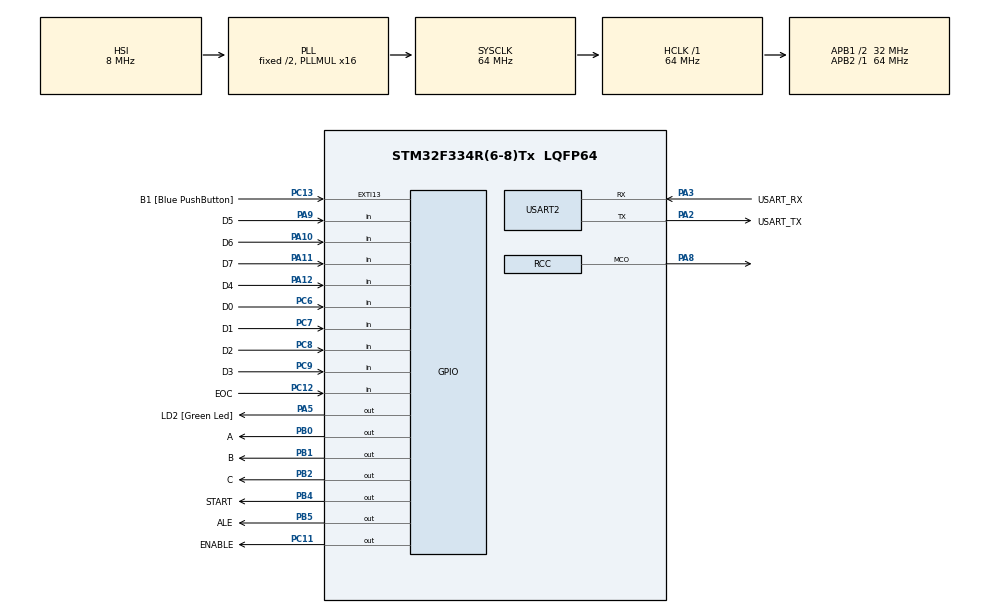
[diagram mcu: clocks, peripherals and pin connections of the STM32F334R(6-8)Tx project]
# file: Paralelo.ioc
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Mcu.Family=STM32F3
Mcu.Name=STM32F334R(6-8)Tx
Mcu.Package=LQFP64
NVIC.EXTI15_10_IRQn=true\:0\:0\:false\:false\:true\:true\:true
NVIC.PriorityGroup=NVIC_PRIORITYGROUP_0
PA10.GPIO_Label=D6
PA10.Signal=GPIO_Input
PA11.GPIO_Label=D7
PA11.Signal=GPIO_Input
PA12.GPIO_Label=D4
PA12.Signal=GPIO_Input
PA13.GPIO_Label=TMS
PA13.Mode=Serial_Wire
PA13.Signal=SYS_JTMS-SWDIO
PA14.GPIO_Label=TCK
PA14.Mode=Serial_Wire
PA14.Signal=SYS_JTCK-SWCLK
PA2.GPIO_Label=USART_TX
PA2.Mode=Asynchronous
PA2.Signal=USART2_TX
PA3.GPIO_Label=USART_RX
PA3.Mode=Asynchronous
PA3.Signal=USART2_RX
PA5.GPIO_Label=LD2 [Green Led]
PA5.Signal=GPIO_Output
PA8.Mode=Clock-out
PA8.Signal=RCC_MCO
PA9.GPIO_Label=D5
PA9.Signal=GPIO_Input
PB0.GPIO_Label=A
PB0.Signal=GPIO_Output
PB1.GPIO_Label=B
PB1.Signal=GPIO_Output
PB2.GPIO_Label=C
PB2.Signal=GPIO_Output
PB3.GPIO_Label=SWO
PB3.Signal=SYS_JTDO-TRACESWO
PB4.GPIO_Label=START
PB4.Signal=GPIO_Output
PB5.GPIO_Label=ALE
PB5.Signal=GPIO_Output
PC11.GPIO_Label=ENABLE
PC11.Signal=GPIO_Output
PC12.GPIO_Label=EOC
PC12.Signal=GPIO_Input
PC13.GPIO_Label=B1 [Blue PushButton]
PC13.GPIO_ModeDefaultEXTI=GPIO_MODE_IT_FALLING
PC13.Signal=GPXTI13
PC14\ /\ OSC32_IN.Signal=RCC_OSC32_IN
PC15\ /\ OSC32_OUT.GPIO_Label=RCC_OSC32_OUT
PC15\ /\ OSC32_OUT.Signal=RCC_OSC32_OUT
PC6.GPIO_Label=D0
PC6.Signal=GPIO_Input
PC7.GPIO_Label=D1
PC7.Signal=GPIO_Input
PC8.GPIO_Label=D2
PC8.Signal=GPIO_Input
PC9.GPIO_Label=D3
PC9.Signal=GPIO_Input
PF0\ /\ OSC_IN.Mode=HSE-External-Clock-Source
PF0\ /\ OSC_IN.Signal=RCC_OSC_IN
PF1\ /\ OSC_OUT.Signal=RCC_OSC_OUT
ProjectManager.HeapSize=0x200
ProjectManager.StackSize=0x400
ProjectManager.TargetToolchain=STM32CubeIDE
RCC.AHBFreq_Value=64000000
RCC.APB1CLKDivider=RCC_HCLK_DIV2
RCC.APB1Freq_Value=32000000
RCC.APB1TimFreq_Value=64000000
RCC.APB2Freq_Value=64000000
RCC.APB2TimFreq_Value=64000000
RCC.CortexFreq_Value=64000000
RCC.FLatency-AdvancedSettings=FLASH_LATENCY_2
RCC.HCLKFreq_Value=64000000
RCC.HSE_VALUE=8000000
RCC.HSI_VALUE=8000000
RCC.LSE_VALUE=32768
RCC.PLLMUL=RCC_PLL_MUL16
RCC.RCC_MCOSource=RCC_MCO1SOURCE_LSI
RCC.SYSCLKFreq_VALUE=64000000
RCC.SYSCLKSourceVirtual=RCC_SYSCLKSOURCE_PLLCLK
USART2.VirtualMode-Asynchronous=VM_ASYNC
board=NUCLEO-F334R8

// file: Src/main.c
/* USER CODE BEGIN Header */
/**
  ******************************************************************************
  * @file           : main.c
  * @brief          : Main program body
  ******************************************************************************
  * @attention
  *
  * <h2><center>&copy; Copyright (c) 2019 STMicroelectronics.
  * All rights reserved.</center></h2>
  *
  * This software component is licensed by ST under BSD 3-Clause license,
  * the "License"; You may not use this file except in compliance with the
  * License. You may obtain a copy of the License at:
  *                        opensource.org/licenses/BSD-3-Clause
  *
  ******************************************************************************
  */
/* USER CODE END Header */

#include "main.h"

UART_HandleTypeDef huart2;

void SystemClock_Config(void);
static void MX_GPIO_Init(void);
static void MX_USART2_UART_Init(void);
/* USER CODE BEGIN PFP */

char ValorLido;

/* USER CODE END PFP */

int main(void)
{

  /* MCU Configuration--------------------------------------------------------*/

  /* Reset of all peripherals, Initializes the Flash interface and the Systick. */
  HAL_Init();

  /* Configure the system clock */
  SystemClock_Config();

  /* Initialize all configured peripherals */
  MX_GPIO_Init();
  MX_USART2_UART_Init();
  /* USER CODE BEGIN 2 */
  char Add = 0;

  HAL_GPIO_WritePin(GPIOB, A_Pin, (Add & 0x01));
  HAL_GPIO_WritePin(GPIOB, B_Pin, ((Add & 0x02)>>1));
  HAL_GPIO_WritePin(GPIOB, C_Pin, ((Add & 0x04)>>2));

  char Buffer[10];
  /* USER CODE END 2 */

  /* Infinite loop */
  while (1)
  {

    /* USER CODE BEGIN 3 */
	HAL_GPIO_WritePin(ALE_GPIO_Port, ALE_Pin,SET);

	HAL_GPIO_WritePin(START_GPIO_Port, START_Pin,SET);

	HAL_GPIO_WritePin(ALE_GPIO_Port, ALE_Pin,RESET);

	HAL_GPIO_WritePin(START_GPIO_Port, START_Pin,RESET);

	HAL_Delay(1000);

	if (HAL_GPIO_ReadPin(EOC_GPIO_Port, EOC_Pin) != '0'){

		char bitDado7 = HAL_GPIO_ReadPin(D7_GPIO_Port, D7_Pin);;  // Read state
		char bitDado6 = HAL_GPIO_ReadPin(D6_GPIO_Port, D6_Pin);;  // Read state
		char bitDado5 = HAL_GPIO_ReadPin(D5_GPIO_Port, D5_Pin);;  // Read state
		char bitDado4 = HAL_GPIO_ReadPin(D4_GPIO_Port, D4_Pin);;  // Read state
		char bitDado3 = HAL_GPIO_ReadPin(D3_GPIO_Port, D3_Pin);;  // Read state
		char bitDado2 = HAL_GPIO_ReadPin(D2_GPIO_Port, D2_Pin);;  // Read state
		char bitDado1 = HAL_GPIO_ReadPin(D1_GPIO_Port, D1_Pin);;  // Read state
		char bitDado0 = HAL_GPIO_ReadPin(D0_GPIO_Port, D0_Pin);;  // Read state

		ValorLido = bitDado0|(bitDado1<<1)|(bitDado2<<2)|(bitDado3<<3)|(bitDado4<<4)|(bitDado5<<5)|(bitDado6<<6)|(bitDado7<<7);

		HAL_GPIO_WritePin(ENABLE_GPIO_Port, ENABLE_Pin,SET);
		HAL_GPIO_WritePin(ENABLE_GPIO_Port, ENABLE_Pin,RESET);
	}

	sprintf(Buffer,"%d\n\r", ValorLido);

	HAL_UART_Transmit(&huart2, Buffer, 10, 1000);

	HAL_Delay(1000);
  }
  /* USER CODE END 3 */
}

void SystemClock_Config(void)
{
  RCC_OscInitTypeDef RCC_OscInitStruct = {0};
  RCC_ClkInitTypeDef RCC_ClkInitStruct = {0};

  /** Initializes the CPU, AHB and APB busses clocks
  */
  RCC_OscInitStruct.OscillatorType = RCC_OSCILLATORTYPE_HSI|RCC_OSCILLATORTYPE_LSI;
  RCC_OscInitStruct.HSIState = RCC_HSI_ON;
  RCC_OscInitStruct.HSICalibrationValue = RCC_HSICALIBRATION_DEFAULT;
  RCC_OscInitStruct.LSIState = RCC_LSI_ON;
  RCC_OscInitStruct.PLL.PLLState = RCC_PLL_ON;
  RCC_OscInitStruct.PLL.PLLSource = RCC_PLLSOURCE_HSI;
  RCC_OscInitStruct.PLL.PLLMUL = RCC_PLL_MUL16;
  if (HAL_RCC_OscConfig(&RCC_OscInitStruct) != HAL_OK)
  {
    Error_Handler();
  }
  /** Initializes the CPU, AHB and APB busses clocks
  */
  RCC_ClkInitStruct.ClockType = RCC_CLOCKTYPE_HCLK|RCC_CLOCKTYPE_SYSCLK
                              |RCC_CLOCKTYPE_PCLK1|RCC_CLOCKTYPE_PCLK2;
  RCC_ClkInitStruct.SYSCLKSource = RCC_SYSCLKSOURCE_PLLCLK;
  RCC_ClkInitStruct.AHBCLKDivider = RCC_SYSCLK_DIV1;
  RCC_ClkInitStruct.APB1CLKDivider = RCC_HCLK_DIV2;
  RCC_ClkInitStruct.APB2CLKDivider = RCC_HCLK_DIV1;

  if (HAL_RCC_ClockConfig(&RCC_ClkInitStruct, FLASH_LATENCY_2) != HAL_OK)
  {
    Error_Handler();
  }
  HAL_RCC_MCOConfig(RCC_MCO, RCC_MCO1SOURCE_LSI, RCC_MCODIV_1);
}

static void MX_USART2_UART_Init(void)
{

  huart2.Instance = USART2;
  huart2.Init.BaudRate = 38400;
  huart2.Init.WordLength = UART_WORDLENGTH_8B;
  huart2.Init.StopBits = UART_STOPBITS_1;
  huart2.Init.Parity = UART_PARITY_NONE;
  huart2.Init.Mode = UART_MODE_TX_RX;
  huart2.Init.HwFlowCtl = UART_HWCONTROL_NONE;
  huart2.Init.OverSampling = UART_OVERSAMPLING_16;
  huart2.Init.OneBitSampling = UART_ONE_BIT_SAMPLE_DISABLE;
  huart2.AdvancedInit.AdvFeatureInit = UART_ADVFEATURE_NO_INIT;
  if (HAL_UART_Init(&huart2) != HAL_OK)
  {
    Error_Handler();
  }

}

static void MX_GPIO_Init(void)
{
  GPIO_InitTypeDef GPIO_InitStruct = {0};

  /* GPIO Ports Clock Enable */
  __HAL_RCC_GPIOC_CLK_ENABLE();
  __HAL_RCC_GPIOF_CLK_ENABLE();
  __HAL_RCC_GPIOA_CLK_ENABLE();
  __HAL_RCC_GPIOB_CLK_ENABLE();

  /*Configure GPIO pin Output Level */
  HAL_GPIO_WritePin(LD2_GPIO_Port, LD2_Pin, GPIO_PIN_RESET);

  /*Configure GPIO pin Output Level */
  HAL_GPIO_WritePin(GPIOB, A_Pin|B_Pin|C_Pin|START_Pin
                          |ALE_Pin, GPIO_PIN_RESET);

  /*Configure GPIO pin Output Level */
  HAL_GPIO_WritePin(ENABLE_GPIO_Port, ENABLE_Pin, GPIO_PIN_RESET);

  /*Configure GPIO pin : B1_Pin */
  GPIO_InitStruct.Pin = B1_Pin;
  GPIO_InitStruct.Mode = GPIO_MODE_IT_FALLING;
  GPIO_InitStruct.Pull = GPIO_NOPULL;
  HAL_GPIO_Init(B1_GPIO_Port, &GPIO_InitStruct);

  /*Configure GPIO pin : LD2_Pin */
  GPIO_InitStruct.Pin = LD2_Pin;
  GPIO_InitStruct.Mode = GPIO_MODE_OUTPUT_PP;
  GPIO_InitStruct.Pull = GPIO_NOPULL;
  GPIO_InitStruct.Speed = GPIO_SPEED_FREQ_LOW;
  HAL_GPIO_Init(LD2_GPIO_Port, &GPIO_InitStruct);

  /*Configure GPIO pins : A_Pin B_Pin C_Pin START_Pin
                           ALE_Pin */
  GPIO_InitStruct.Pin = A_Pin|B_Pin|C_Pin|START_Pin
                          |ALE_Pin;
  GPIO_InitStruct.Mode = GPIO_MODE_OUTPUT_PP;
  GPIO_InitStruct.Pull = GPIO_NOPULL;
  GPIO_InitStruct.Speed = GPIO_SPEED_FREQ_LOW;
  HAL_GPIO_Init(GPIOB, &GPIO_InitStruct);

  /*Configure GPIO pins : D0_Pin D1_Pin D2_Pin D3_Pin
                           EOC_Pin */
  GPIO_InitStruct.Pin = D0_Pin|D1_Pin|D2_Pin|D3_Pin
                          |EOC_Pin;
  GPIO_InitStruct.Mode = GPIO_MODE_INPUT;
  GPIO_InitStruct.Pull = GPIO_NOPULL;
  HAL_GPIO_Init(GPIOC, &GPIO_InitStruct);

  /*Configure GPIO pin : PA8 */
  GPIO_InitStruct.Pin = GPIO_PIN_8;
  GPIO_InitStruct.Mode = GPIO_MODE_AF_PP;
  GPIO_InitStruct.Pull = GPIO_NOPULL;
  GPIO_InitStruct.Speed = GPIO_SPEED_FREQ_LOW;
  GPIO_InitStruct.Alternate = GPIO_AF0_MCO;
  HAL_GPIO_Init(GPIOA, &GPIO_InitStruct);

  /*Configure GPIO pins : D5_Pin D6_Pin D7_Pin D4_Pin */
  GPIO_InitStruct.Pin = D5_Pin|D6_Pin|D7_Pin|D4_Pin;
  GPIO_InitStruct.Mode = GPIO_MODE_INPUT;
  GPIO_InitStruct.Pull = GPIO_NOPULL;
  HAL_GPIO_Init(GPIOA, &GPIO_InitStruct);

  /*Configure GPIO pin : ENABLE_Pin */
  GPIO_InitStruct.Pin = ENABLE_Pin;
  GPIO_InitStruct.Mode = GPIO_MODE_OUTPUT_PP;
  GPIO_InitStruct.Pull = GPIO_NOPULL;
  GPIO_InitStruct.Speed = GPIO_SPEED_FREQ_LOW;
  HAL_GPIO_Init(ENABLE_GPIO_Port, &GPIO_InitStruct);

  /* EXTI interrupt init*/
  HAL_NVIC_SetPriority(EXTI15_10_IRQn, 0, 0);
  HAL_NVIC_EnableIRQ(EXTI15_10_IRQn);

}

/* USER CODE BEGIN 4 *//*
void HAL_GPIO_EXTI_Callback(uint16_t GPIO_Pin){

		char bitDado7 = HAL_GPIO_ReadPin(D7_GPIO_Port, D7_Pin);;  // Read state
		char bitDado6 = HAL_GPIO_ReadPin(D6_GPIO_Port, D6_Pin);;  // Read state
		char bitDado5 = HAL_GPIO_ReadPin(D5_GPIO_Port, D5_Pin);;  // Read state
		char bitDado4 = HAL_GPIO_ReadPin(D4_GPIO_Port, D4_Pin);;  // Read state
		char bitDado3 = HAL_GPIO_ReadPin(D3_GPIO_Port, D3_Pin);;  // Read state
		char bitDado2 = HAL_GPIO_ReadPin(D2_GPIO_Port, D2_Pin);;  // Read state
		char bitDado1 = HAL_GPIO_ReadPin(D1_GPIO_Port, D1_Pin);;  // Read state
		char bitDado0 = HAL_GPIO_ReadPin(D0_GPIO_Port, D0_Pin);;  // Read state

		ValorLido = bitDado0|(bitDado1<<1)|(bitDado2<<2)|(bitDado3<<3)|(bitDado4<<4)|(bitDado5<<5)|(bitDado6<<6)|(bitDado7<<7);

}*/
/* USER CODE END 4 */

void Error_Handler(void)
{
}

/************************ (C) COPYRIGHT STMicroelectronics *****END OF FILE****/
